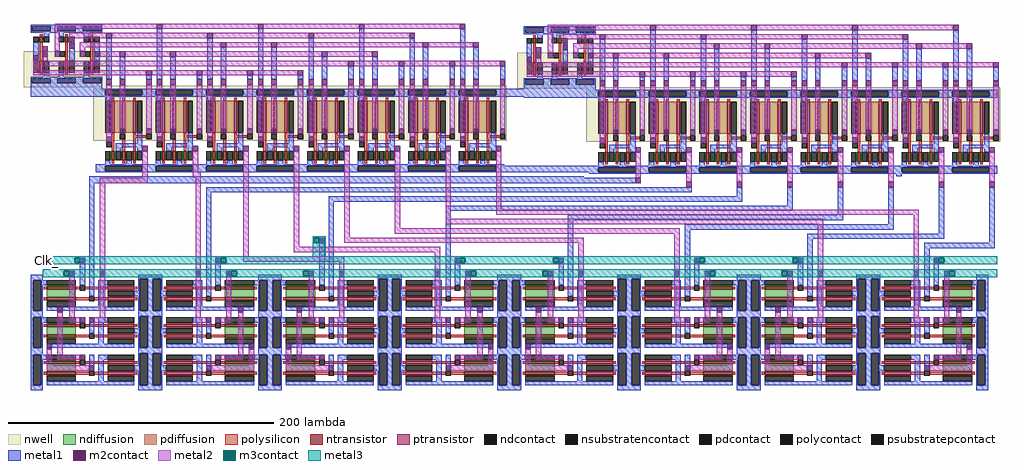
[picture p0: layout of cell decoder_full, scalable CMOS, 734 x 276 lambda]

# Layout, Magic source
magic
tech scmos
<< metal1 >>
rect 358 97 378 98
rect 358 92 424 97
rect 358 35 424 40
rect 653 32 657 36
rect 46 31 418 32
rect 46 27 457 31
rect 39 -44 43 -33
rect 46 -42 50 27
rect 134 20 499 24
rect 134 -39 138 20
rect 533 17 537 24
rect 226 13 537 17
rect 141 -44 145 -33
rect 219 -44 223 -18
rect 226 -39 230 13
rect 571 10 575 24
rect 314 6 575 10
rect 314 -42 318 6
rect 609 3 613 24
rect 406 -1 613 3
rect 321 -44 325 -33
rect 399 -44 403 -33
rect 406 -42 410 -1
rect 647 -4 651 24
rect 494 -8 651 -4
rect 494 -45 498 -8
rect 685 -11 689 24
rect 586 -15 689 -11
rect 501 -44 505 -33
rect 579 -44 583 -33
rect 586 -41 590 -15
rect 723 -18 727 24
rect 674 -22 727 -18
rect 674 -42 678 -22
rect 681 -39 685 -33
<< m2contact >>
rect 457 27 461 31
rect 39 -33 43 -29
rect 495 24 499 28
rect 533 24 537 28
rect 571 24 575 28
rect 219 -18 223 -14
rect 141 -33 145 -29
rect 609 24 613 28
rect 647 24 651 28
rect 321 -33 325 -29
rect 399 -33 403 -29
rect 685 24 689 28
rect 723 24 727 28
rect 501 -33 505 -29
rect 579 -33 583 -29
rect 681 -33 685 -29
<< metal2 >>
rect 86 31 90 38
rect 124 35 128 38
rect 124 31 130 35
rect 54 27 90 31
rect 54 -44 58 27
rect 126 -43 130 31
rect 162 -28 166 38
rect 200 -21 204 39
rect 238 -14 242 40
rect 276 -7 280 39
rect 314 0 318 38
rect 352 7 356 39
rect 457 31 461 37
rect 495 28 499 37
rect 533 28 537 34
rect 571 28 575 37
rect 609 28 613 35
rect 647 28 651 35
rect 685 28 689 34
rect 723 28 727 35
rect 352 3 670 7
rect 314 -4 598 0
rect 276 -11 490 -7
rect 238 -18 418 -14
rect 200 -25 310 -21
rect 162 -32 238 -28
rect 234 -43 238 -32
rect 306 -43 310 -25
rect 414 -43 418 -18
rect 486 -43 490 -11
rect 594 -43 598 -4
rect 666 -43 670 3
<< m3contact >>
rect 35 -33 39 -29
rect 27 -43 31 -39
rect 215 -18 219 -14
rect 145 -33 149 -29
rect 153 -43 157 -39
rect 207 -43 211 -39
rect 325 -33 329 -29
rect 395 -33 399 -29
rect 333 -43 337 -39
rect 387 -43 391 -39
rect 505 -33 509 -29
rect 575 -33 579 -29
rect 513 -43 517 -39
rect 567 -43 571 -39
rect 685 -33 689 -29
rect 693 -43 697 -39
<< metal3 >>
rect 214 -14 224 -13
rect 214 -18 215 -14
rect 219 -18 224 -14
rect 214 -28 224 -18
rect 11 -29 729 -28
rect 11 -33 35 -29
rect 39 -33 145 -29
rect 149 -33 325 -29
rect 329 -33 395 -29
rect 399 -33 505 -29
rect 509 -33 575 -29
rect 579 -33 685 -29
rect 689 -33 729 -29
rect 11 -34 729 -33
rect 11 -39 729 -38
rect 11 -43 27 -39
rect 31 -43 153 -39
rect 157 -43 207 -39
rect 211 -43 333 -39
rect 337 -43 387 -39
rect 391 -43 513 -39
rect 517 -43 567 -39
rect 571 -43 693 -39
rect 697 -43 729 -39
rect 11 -44 729 -43
use decoder  decoder_0
transform 1 0 49 0 1 35
box -52 0 311 112
use decoder  decoder_1
transform 1 0 420 0 1 34
box -52 0 311 112
use andor  andor_7
transform 0 1 -3 -1 0 -42
box -3 5 87 95
use andor  andor_0
transform 0 -1 187 -1 0 -42
box -3 5 87 95
use andor  andor_1
transform 0 1 177 -1 0 -42
box -3 5 87 95
use andor  andor_2
transform 0 -1 367 -1 0 -42
box -3 5 87 95
use andor  andor_3
transform 0 1 357 -1 0 -42
box -3 5 87 95
use andor  andor_4
transform 0 -1 547 -1 0 -42
box -3 5 87 95
use andor  andor_5
transform 0 1 537 -1 0 -42
box -3 5 87 95
use andor  andor_6
transform 0 -1 727 -1 0 -42
box -3 5 87 95
<< labels >>
rlabel metal3 14 -31 14 -31 1 Clk_
rlabel metal3 14 -41 14 -41 1 Clk
<< end >>

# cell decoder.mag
magic
tech scmos
<< nwell >>
rect -34 80 -30 84
<< metal1 >>
rect -47 105 7 111
rect -47 57 7 72
rect 10 70 14 101
rect 20 70 24 87
rect 40 70 44 73
rect 48 70 52 108
rect 58 70 62 87
rect 78 70 82 73
rect 86 70 90 101
rect 96 70 100 94
rect 116 70 120 73
rect 124 70 128 108
rect 134 70 138 94
rect 154 70 158 73
rect 162 70 166 101
rect 172 70 176 87
rect 192 70 196 80
rect 200 70 204 108
rect 210 70 214 87
rect 230 70 234 80
rect 238 70 242 101
rect 248 70 252 94
rect 268 70 272 80
rect 276 70 280 108
rect 286 70 290 94
rect 306 70 310 80
<< m2contact >>
rect 48 108 52 112
rect 10 101 14 105
rect -38 91 -34 95
rect -18 93 -14 97
rect -45 84 -41 88
rect -29 87 -25 91
rect -10 87 -6 91
rect 1 87 5 91
rect 10 66 14 70
rect 20 87 24 91
rect 20 66 24 70
rect 40 73 44 77
rect 40 66 44 70
rect 124 108 128 112
rect 86 101 90 105
rect 48 66 52 70
rect 58 87 62 91
rect 58 66 62 70
rect 78 73 82 77
rect 78 66 82 70
rect 86 66 90 70
rect 96 94 100 98
rect 96 66 100 70
rect 116 73 120 77
rect 116 66 120 70
rect 200 108 204 112
rect 162 101 166 105
rect 124 66 128 70
rect 134 94 138 98
rect 134 66 138 70
rect 154 73 158 77
rect 154 66 158 70
rect 162 66 166 70
rect 172 87 176 91
rect 172 66 176 70
rect 192 80 196 84
rect 192 66 196 70
rect 276 108 280 112
rect 238 101 242 105
rect 200 66 204 70
rect 210 87 214 91
rect 210 66 214 70
rect 230 80 234 84
rect 230 66 234 70
rect 238 66 242 70
rect 248 94 252 98
rect 248 66 252 70
rect 268 80 272 84
rect 268 66 272 70
rect 276 66 280 70
rect 286 94 290 98
rect 286 66 290 70
rect 306 80 310 84
rect 306 66 310 70
rect 37 16 41 20
rect 75 16 79 20
rect 113 16 117 20
rect 151 16 155 20
rect 189 16 193 20
rect 227 16 231 20
rect 265 16 269 20
rect 303 16 307 20
<< metal2 >>
rect -29 108 48 112
rect 52 108 124 112
rect 128 108 200 112
rect 204 108 276 112
rect -45 77 -41 84
rect -38 84 -34 91
rect -29 91 -25 108
rect -18 101 10 105
rect 14 101 86 105
rect 90 101 162 105
rect 166 101 238 105
rect -18 97 -14 101
rect -10 94 96 98
rect 100 94 134 98
rect 138 94 248 98
rect 252 94 286 98
rect -10 91 -6 94
rect 5 87 20 91
rect 24 87 58 91
rect 62 87 172 91
rect 176 87 210 91
rect -38 80 192 84
rect 196 80 230 84
rect 234 80 268 84
rect 272 80 306 84
rect -45 73 40 77
rect 44 73 78 77
rect 82 73 116 77
rect 120 73 154 77
rect 10 23 14 66
rect 20 33 24 66
rect 40 33 44 66
rect 48 27 52 66
rect 58 33 62 66
rect 78 33 82 66
rect 86 27 90 66
rect 96 33 100 66
rect 116 33 120 66
rect 124 27 128 66
rect 134 33 138 66
rect 154 33 158 66
rect 162 27 166 66
rect 172 33 176 66
rect 192 33 196 66
rect 200 27 204 66
rect 210 33 214 66
rect 230 33 234 66
rect 238 27 242 66
rect 248 33 252 66
rect 268 33 272 66
rect 276 27 280 66
rect 286 33 290 66
rect 306 33 310 66
rect 37 0 41 16
rect 75 0 79 16
rect 113 0 117 16
rect 151 0 155 16
rect 189 0 193 16
rect 227 0 231 16
rect 265 0 269 16
rect 303 0 307 16
use inv  inv_0
transform -1 0 -33 0 -1 85
box -6 -26 19 21
use inv  inv_1
transform 1 0 -26 0 -1 85
box -6 -26 19 21
use inv  inv_2
transform 1 0 -7 0 -1 85
box -6 -26 19 21
use 3nor  3nor_0
transform 1 0 9 0 1 30
box -9 -30 36 35
use 3nor  3nor_1
transform 1 0 47 0 1 30
box -9 -30 36 35
use 3nor  3nor_2
transform 1 0 85 0 1 30
box -9 -30 36 35
use 3nor  3nor_3
transform 1 0 123 0 1 30
box -9 -30 36 35
use 3nor  3nor_4
transform 1 0 161 0 1 30
box -9 -30 36 35
use 3nor  3nor_5
transform 1 0 199 0 1 30
box -9 -30 36 35
use 3nor  3nor_6
transform 1 0 237 0 1 30
box -9 -30 36 35
use 3nor  3nor_7
transform 1 0 275 0 1 30
box -9 -30 36 35
<< labels >>
rlabel metal2 -8 96 -8 96 0 i1
rlabel metal2 -27 93 -27 93 1 i0
rlabel metal2 39 14 39 14 1 d7
rlabel metal2 77 14 77 14 1 d6
rlabel metal2 115 14 115 14 1 d5
rlabel metal2 153 14 153 14 1 d4
rlabel metal2 191 14 191 14 1 d3
rlabel metal2 229 14 229 14 1 d2
rlabel metal2 267 14 267 14 1 d1
rlabel metal2 305 14 305 14 1 d0
rlabel metal1 -10 61 -10 61 0 VDD
rlabel space 5 3 5 3 0 GND
rlabel metal1 -31 108 -31 108 0 GND
rlabel metal2 -36 89 -36 89 0 i2
<< end >>

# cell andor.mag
magic
tech scmos
<< metal1 >>
rect 0 94 87 95
rect 28 89 30 91
rect -3 49 4 53
rect 80 49 83 55
rect -3 42 8 46
rect 28 9 30 11
rect 0 5 87 6
<< m2contact >>
rect -3 57 1 61
rect 32 49 36 53
rect 68 49 72 53
rect 32 42 36 46
rect 60 42 64 46
rect -3 34 1 38
rect 24 25 28 29
rect 52 17 56 21
<< metal2 >>
rect 1 57 36 61
rect 32 53 36 57
rect 32 38 36 42
rect 1 34 36 38
rect 60 29 64 42
rect 28 25 64 29
rect 68 21 72 49
rect 56 17 72 21
use nand  nand_0
transform 1 0 23 0 1 67
box -23 -61 8 27
use nand  nand_1
transform 1 0 51 0 1 67
box -23 -61 8 27
use nand  nand_2
transform 1 0 79 0 1 67
box -23 -61 8 27
<< labels >>
rlabel m2contact -1 59 -1 59 1 D
rlabel m2contact -1 36 -1 36 1 Clk
rlabel metal1 -1 51 -1 51 1 A
rlabel metal1 -1 44 -1 44 1 Clk_
rlabel metal1 28 89 30 91 1 VDD
rlabel metal1 28 9 30 11 1 GND
rlabel metal1 81 53 81 53 1 En
<< end >>

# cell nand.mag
magic
tech scmos
<< ntransistor >>
rect -14 -50 -12 -28
rect -6 -50 -4 -28
<< ptransistor >>
rect -14 -4 -12 16
rect -6 -4 -4 16
<< ndiffusion >>
rect -15 -50 -14 -28
rect -12 -50 -6 -28
rect -4 -50 -3 -28
<< pdiffusion >>
rect -15 -4 -14 16
rect -12 -4 -11 16
rect -7 -4 -6 16
rect -4 -4 -3 16
<< ndcontact >>
rect -19 -50 -15 -28
rect -3 -50 1 -28
<< pdcontact >>
rect -19 -4 -15 16
rect -11 -4 -7 16
rect -3 -4 1 16
<< psubstratepcontact >>
rect -19 -60 4 -54
<< nsubstratencontact >>
rect -20 20 4 26
<< polysilicon >>
rect -14 16 -12 18
rect -6 16 -4 18
rect -14 -21 -12 -4
rect -6 -14 -4 -4
rect -14 -28 -12 -25
rect -6 -28 -4 -18
rect -14 -52 -12 -50
rect -6 -52 -4 -50
<< polycontact >>
rect -7 -18 -3 -14
rect -15 -25 -11 -21
<< metal1 >>
rect -23 26 8 27
rect -23 20 -20 26
rect 4 20 8 26
rect -23 19 8 20
rect -11 16 -7 19
rect -19 -7 -15 -4
rect 1 -7 4 16
rect -19 -11 4 -7
rect -19 -18 -7 -14
rect -19 -25 -15 -21
rect 1 -50 4 -11
rect -19 -53 -15 -50
rect -23 -54 8 -53
rect -23 -60 -19 -54
rect 4 -60 8 -54
rect -23 -61 8 -60
<< labels >>
rlabel metal1 2 -16 2 -16 0 OUT
rlabel metal1 -17 -23 -17 -23 0 A
rlabel metal1 -17 -16 -17 -16 0 B
<< end >>

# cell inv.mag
magic
tech scmos
<< nwell >>
rect -6 -6 19 21
<< ntransistor >>
rect 5 -17 7 -13
<< ptransistor >>
rect 5 1 7 10
<< ndiffusion >>
rect 4 -17 5 -13
rect 7 -17 8 -13
<< pdiffusion >>
rect 4 1 5 10
rect 7 1 8 10
<< ndcontact >>
rect 0 -17 4 -13
rect 8 -17 12 -13
<< pdcontact >>
rect 0 1 4 10
rect 8 1 12 10
<< psubstratepcontact >>
rect -1 -25 13 -21
<< nsubstratencontact >>
rect -1 14 13 18
<< polysilicon >>
rect 5 10 7 12
rect 5 -13 7 1
rect 5 -19 7 -17
<< polycontact >>
rect 1 -6 5 -2
<< metal1 >>
rect -2 18 14 19
rect -2 14 -1 18
rect 13 14 14 18
rect -2 13 14 14
rect 0 10 4 13
rect 8 -13 12 1
rect 0 -20 4 -17
rect -2 -21 14 -20
rect -2 -25 -1 -21
rect 13 -25 14 -21
rect -2 -26 14 -25
<< labels >>
rlabel metal1 6 -26 6 -26 1 Gnd
rlabel metal1 6 19 6 19 5 Vdd
rlabel polycontact 3 -5 3 -5 1 A
<< end >>

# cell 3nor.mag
magic
tech scmos
<< nwell >>
rect -9 -6 36 35
<< ntransistor >>
rect 5 -21 7 -14
rect 13 -21 15 -14
rect 21 -21 23 -14
<< ptransistor >>
rect 5 0 7 24
rect 13 0 15 24
rect 21 0 23 24
<< ndiffusion >>
rect 4 -21 5 -14
rect 7 -21 8 -14
rect 12 -21 13 -14
rect 15 -21 16 -14
rect 20 -21 21 -14
rect 23 -21 24 -14
<< pdiffusion >>
rect 4 0 5 24
rect 7 0 13 24
rect 15 0 21 24
rect 23 0 24 24
<< ndcontact >>
rect 0 -21 4 -14
rect 8 -21 12 -14
rect 16 -21 20 -14
rect 24 -21 28 -14
<< pdcontact >>
rect 0 0 4 24
rect 24 0 28 24
<< psubstratepcontact >>
rect 0 -29 28 -25
<< nsubstratencontact >>
rect 0 28 28 32
<< polysilicon >>
rect 5 24 7 26
rect 13 24 15 26
rect 21 24 23 26
rect 5 -14 7 0
rect 13 -1 15 0
rect 13 -14 15 -5
rect 21 -2 23 0
rect 21 -4 31 -2
rect 21 -14 23 -4
rect 5 -23 7 -21
rect 13 -23 15 -21
rect 21 -23 23 -21
<< polycontact >>
rect 1 -11 5 -7
rect 11 -5 15 -1
rect 31 -5 35 -1
<< metal1 >>
rect -7 32 34 33
rect -7 28 0 32
rect 28 28 34 32
rect -7 27 34 28
rect 0 24 4 27
rect 24 -8 28 0
rect 8 -11 28 -8
rect 8 -14 12 -11
rect 24 -14 28 -11
rect 0 -24 4 -21
rect 16 -24 20 -21
rect -7 -25 34 -24
rect -7 -29 0 -25
rect 28 -29 34 -25
rect -7 -30 34 -29
<< m2contact >>
rect 11 -1 15 3
rect 1 -7 5 -3
rect 31 -1 35 3
<< labels >>
rlabel metal1 26 -7 26 -7 1 OUT
rlabel metal1 14 33 14 33 5 VDD
rlabel metal1 14 -30 14 -30 1 GND
rlabel polycontact 13 -3 13 -3 1 B
rlabel polycontact 33 -3 33 -3 7 C
rlabel polycontact 3 -9 3 -9 1 A
<< end >>
